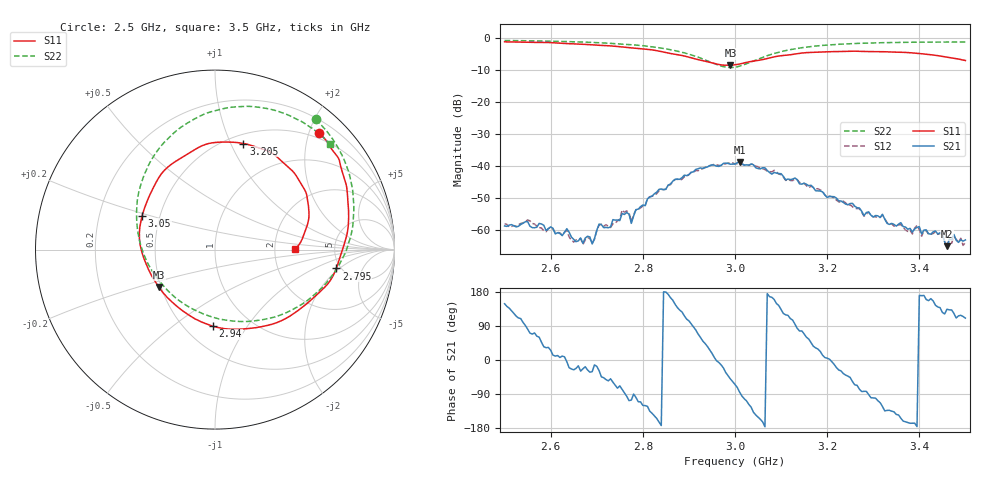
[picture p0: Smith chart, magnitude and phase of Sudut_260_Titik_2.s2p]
# Hz S RI R 50
! CMT, C1220, 16058040, 17.2.0/1
! Date: 15/08/2018 10:52:09
! Data: Format (Calibration Info)
! Freq  S11: Re/Im (F2)  S21: Re/Im (F2)  S12: Re/Im (F2)  S22: Re/Im (F2)
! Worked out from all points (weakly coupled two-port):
!   201 points, 2.5 GHz to 3.5 GHz, reference 50 ohm
!   highest |S21| = -38.72 dB at 3.01 GHz (marker M1); lowest = -65.1 dB at 3.46 GHz (marker M2)
!   lowest |S11| = -8.5 dB at 2.99 GHz (marker M3), VSWR 2.20, Z = 24.3 - j11.8 ohm
!   |S11| at or under -10 dB: nowhere
!   |S22| runs from -9.2 to -0.7 dB; largest |S21 - S12| = 0.00081
!   S11 on the Smith chart (normalised r, x): 2.5 GHz: 0.40, +2.17; 2.795 GHz: 4.58, -1.80; 2.94 GHz: 0.68, -0.71; 3.05 GHz: 0.40, +0.19; 3.205 GHz: 0.59, +1.12; 3.5 GHz: 2.61, +0.01
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2.5e9  0.5809 0.6521  -0.000983 0.000604  -0.00107 0.00066  0.5617 0.7265
2.635e9  0.7229 0.3893  0.00104 -8.18e-05  0.000956 -0.000221  0.7065 0.5285
2.67e9  0.7373 0.3137  0.000567 -0.000243  0.000517 -0.00029  0.7367 0.4553
2.69e9  0.7422 0.2497  0.000517 -0.00031  0.000523 -0.000329  0.751 0.4097
2.705e9  0.7444 0.2039  0.00109 -0.000579  0.00108 -0.000504  0.76 0.3706
2.73e9  0.7427 0.136  0.000725 -0.000849  0.000671 -0.000859  0.7691 0.3046
2.755e9  0.7246 0.0458  0.000389 -0.00176  0.000564 -0.00196  0.7736 0.231
2.775e9  0.7031 -0.0222  -0.000345 -0.00122  -0.000426 -0.00128  0.7706 0.1651
2.795e9  0.6753 -0.105  -0.000808 -0.00216  -0.000788 -0.00206  0.7609 0.0945
2.835e9  0.5779 -0.2418  -0.00412 -0.00124  -0.00386 -0.00134  0.7033 -0.0635
2.94e9  -0.012 -0.4269  0.00781 0.00567  0.00773 0.00594  0.1857 -0.4002
2.99e9  -0.3132 -0.2078  0.00684 -0.00816  0.00727 -0.0084  -0.2134 -0.2743
3e9  -0.3541 -0.1444  0.0046 -0.00968  0.00408 -0.00996  -0.2789 -0.212
3.01e9  -0.3856 -0.0752  0.00106 -0.0115  0.00103 -0.0109  -0.3347 -0.143
3.05e9  -0.4062 0.1877  -0.00795 -0.00445  -0.00867 -0.00445  -0.4366 0.1711
3.17e9  0.025 0.5987  0.00371 0.00273  0.00345 0.00305  -0.0934 0.739
3.205e9  0.1587 0.5909  0.00333 0.000127  0.00337 -0.000118  0.0343 0.7825
3.335e9  0.4666 0.389  -0.000825 -0.000894  -0.000872 -0.000909  0.3898 0.7569
3.435e9  0.5174 0.1477  -0.000785 0.000558  -0.000756 0.000543  0.5611 0.6601
3.46e9  0.4955 0.0845  -0.000387 0.0004  -0.000368 0.000447  0.5956 0.6331
3.475e9  0.4811 0.0492  -0.000465 0.000713  -0.00046 0.000637  0.6131 0.6158
3.5e9  0.446 0.00146  -0.000244 0.000653  -0.000243 0.000587  0.6426 0.5859
